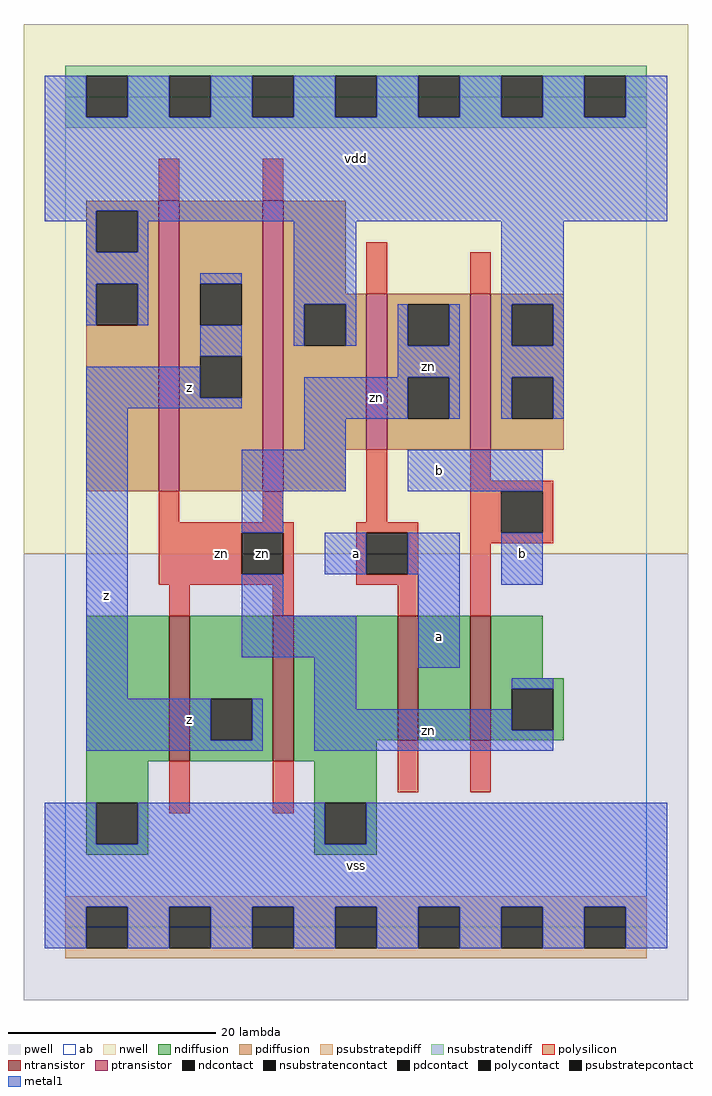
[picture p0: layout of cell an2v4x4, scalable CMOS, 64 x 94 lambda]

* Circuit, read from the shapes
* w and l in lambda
.subckt an2v4x4 a b vdd vss z zn
M1 z zn vss vss nfet w=14 l=2 m=2
M2 n1 a vss vss nfet w=12 l=2
M3 zn b n1 vss nfet w=12 l=2
M4 z zn vdd vdd pfet w=28 l=2 m=2
M5 zn a vdd vdd pfet w=15 l=2
M6 vdd b zn vdd pfet w=15 l=2
.ends

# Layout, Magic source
magic
tech scmos
<< ab >>
rect 0 0 56 80
<< pwell >>
rect -4 -7 60 36
<< nwell >>
rect -4 36 60 87
<< polysilicon >>
rect 9 70 11 74
rect 19 70 21 74
rect 29 61 31 66
rect 39 61 41 65
rect 9 39 11 42
rect 19 39 21 42
rect 29 39 31 46
rect 39 43 41 46
rect 39 42 47 43
rect 9 38 22 39
rect 9 34 17 38
rect 21 34 22 38
rect 9 33 22 34
rect 28 38 34 39
rect 28 34 29 38
rect 33 34 34 38
rect 28 33 34 34
rect 10 30 12 33
rect 20 30 22 33
rect 32 30 34 33
rect 39 38 42 42
rect 46 38 47 42
rect 39 37 47 38
rect 39 30 41 37
rect 10 11 12 16
rect 20 11 22 16
rect 32 13 34 18
rect 39 13 41 18
<< ndiffusion >>
rect 2 16 10 30
rect 12 22 20 30
rect 12 18 14 22
rect 18 18 20 22
rect 12 16 20 18
rect 22 18 32 30
rect 34 18 39 30
rect 41 24 46 30
rect 41 23 48 24
rect 41 19 43 23
rect 47 19 48 23
rect 41 18 48 19
rect 22 16 30 18
rect 2 12 8 16
rect 2 8 3 12
rect 7 8 8 12
rect 24 12 30 16
rect 2 7 8 8
rect 24 8 25 12
rect 29 8 30 12
rect 24 7 30 8
<< pdiffusion >>
rect 2 69 9 70
rect 2 65 3 69
rect 7 65 9 69
rect 2 62 9 65
rect 2 58 3 62
rect 7 58 9 62
rect 2 42 9 58
rect 11 62 19 70
rect 11 58 13 62
rect 17 58 19 62
rect 11 55 19 58
rect 11 51 13 55
rect 17 51 19 55
rect 11 42 19 51
rect 21 61 27 70
rect 21 60 29 61
rect 21 56 23 60
rect 27 56 29 60
rect 21 46 29 56
rect 31 60 39 61
rect 31 56 33 60
rect 37 56 39 60
rect 31 53 39 56
rect 31 49 33 53
rect 37 49 39 53
rect 31 46 39 49
rect 41 60 48 61
rect 41 56 43 60
rect 47 56 48 60
rect 41 53 48 56
rect 41 49 43 53
rect 47 49 48 53
rect 41 46 48 49
rect 21 42 27 46
<< metal1 >>
rect -2 78 2 82
rect 6 78 10 82
rect 14 78 18 82
rect 22 78 26 82
rect 30 78 34 82
rect 38 78 42 82
rect 46 78 50 82
rect 54 78 58 82
rect -2 69 58 78
rect -2 68 3 69
rect 2 65 3 68
rect 7 68 58 69
rect 7 65 8 68
rect 2 62 8 65
rect 2 58 3 62
rect 7 58 8 62
rect 13 62 17 63
rect 13 55 17 58
rect 22 60 28 68
rect 42 60 48 68
rect 22 56 23 60
rect 27 56 28 60
rect 32 56 33 60
rect 37 56 38 60
rect 2 51 13 54
rect 32 53 38 56
rect 2 50 17 51
rect 2 22 6 50
rect 23 49 33 53
rect 37 49 38 53
rect 42 56 43 60
rect 47 56 48 60
rect 42 53 48 56
rect 42 49 43 53
rect 47 49 48 53
rect 23 46 27 49
rect 17 42 27 46
rect 33 42 46 46
rect 17 38 21 42
rect 25 34 29 38
rect 33 34 38 38
rect 17 30 21 34
rect 17 26 28 30
rect 2 18 14 22
rect 18 18 19 22
rect 2 17 19 18
rect 24 21 28 26
rect 34 25 38 34
rect 42 33 46 38
rect 43 23 47 24
rect 24 19 43 21
rect 24 17 47 19
rect -2 8 3 12
rect 7 8 25 12
rect 29 8 58 12
rect -2 2 58 8
rect -2 -2 2 2
rect 6 -2 10 2
rect 14 -2 18 2
rect 22 -2 26 2
rect 30 -2 34 2
rect 38 -2 42 2
rect 46 -2 50 2
rect 54 -2 58 2
<< ntransistor >>
rect 10 16 12 30
rect 20 16 22 30
rect 32 18 34 30
rect 39 18 41 30
<< ptransistor >>
rect 9 42 11 70
rect 19 42 21 70
rect 29 46 31 61
rect 39 46 41 61
<< polycontact >>
rect 17 34 21 38
rect 29 34 33 38
rect 42 38 46 42
<< ndcontact >>
rect 14 18 18 22
rect 43 19 47 23
rect 3 8 7 12
rect 25 8 29 12
<< pdcontact >>
rect 3 65 7 69
rect 3 58 7 62
rect 13 58 17 62
rect 13 51 17 55
rect 23 56 27 60
rect 33 56 37 60
rect 33 49 37 53
rect 43 56 47 60
rect 43 49 47 53
<< psubstratepcontact >>
rect 2 -2 6 2
rect 10 -2 14 2
rect 18 -2 22 2
rect 26 -2 30 2
rect 34 -2 38 2
rect 42 -2 46 2
rect 50 -2 54 2
<< nsubstratencontact >>
rect 2 78 6 82
rect 10 78 14 82
rect 18 78 22 82
rect 26 78 30 82
rect 34 78 38 82
rect 42 78 46 82
rect 50 78 54 82
<< psubstratepdiff >>
rect 0 2 56 3
rect 0 -2 2 2
rect 6 -2 10 2
rect 14 -2 18 2
rect 22 -2 26 2
rect 30 -2 34 2
rect 38 -2 42 2
rect 46 -2 50 2
rect 54 -2 56 2
rect 0 -3 56 -2
<< nsubstratendiff >>
rect 0 82 56 83
rect 0 78 2 82
rect 6 78 10 82
rect 14 78 18 82
rect 22 78 26 82
rect 30 78 34 82
rect 38 78 42 82
rect 46 78 50 82
rect 54 78 56 82
rect 0 77 56 78
<< labels >>
rlabel polysilicon 15 36 15 36 6 zn
rlabel metal1 4 32 4 32 6 z
rlabel metal1 12 20 12 20 6 z
rlabel polycontact 19 36 19 36 6 zn
rlabel metal1 12 52 12 52 6 z
rlabel metal1 28 6 28 6 6 vss
rlabel metal1 28 36 28 36 6 a
rlabel metal1 36 28 36 28 6 a
rlabel metal1 36 44 36 44 6 b
rlabel metal1 30 51 30 51 6 zn
rlabel metal1 35 54 35 54 6 zn
rlabel metal1 28 74 28 74 6 vdd
rlabel metal1 35 19 35 19 6 zn
rlabel metal1 44 36 44 36 6 b
<< end >>
